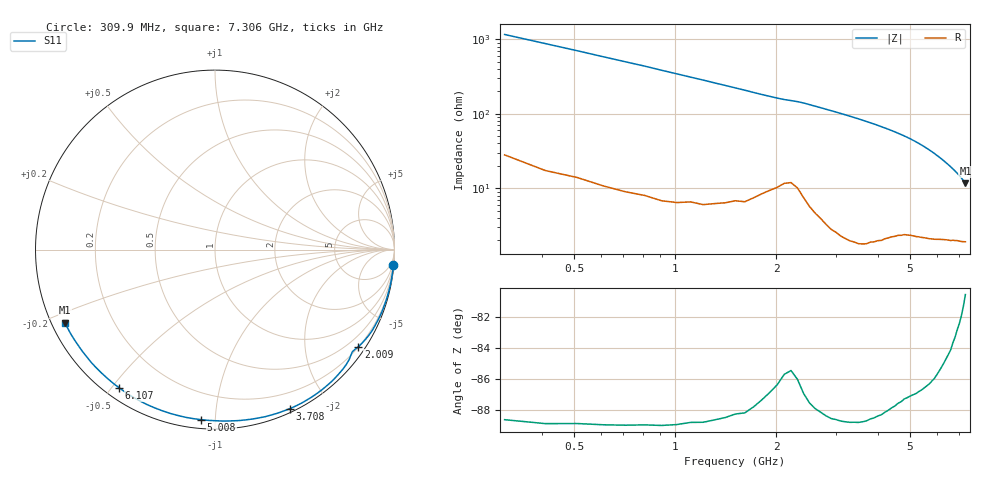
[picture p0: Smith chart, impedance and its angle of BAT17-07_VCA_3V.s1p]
! Infineon Technologies  Discrete & RF Semiconductors
! BAT17-07
! VCA = 3 V
! One-Port S-Parameters
# Hz  S  MA  R  50
!f  S11
!Hz  Mag  Ang
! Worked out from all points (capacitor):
!   71 points, 309.9 MHz to 7.306 GHz, reference 50 ohm
!   read as one part to ground: C = 443 fF near 309.9 MHz
!   lowest |Z| = 11.7 ohm at 7.306 GHz (marker M1)
!   S11 on the Smith chart (normalised r, x): 309.9 MHz: 1, -23; 2.009 GHz: 0.21, -3.25; 3.708 GHz: 0.04, -1.58; 5.008 GHz: 0.05, -0.92; 6.107 GHz: 0.04, -0.52; 7.306 GHz: 0.04, -0.23
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3.0985e8  0.9979 -4.9
8.096e8  0.9959 -13.0
1.2094e9  0.9928 -20.0
1.6092e9  0.9856 -27.1
1.8091e9  0.9765 -30.7
2.009e9  0.9651 -34.1
2.10895e9  0.9573 -35.5
2.30885e9  0.9583 -37.8
2.50875e9  0.9721 -41.2
2.70865e9  0.9773 -44.9
3.0085e9  0.9814 -50.7
3.4083e9  0.982 -58.5
3.70815e9  0.9796 -64.7
3.8081e9  0.9773 -66.8
4.10795e9  0.9719 -73.3
4.30785e9  0.9665 -77.7
4.70765e9  0.9566 -87.1
5.0075e9  0.9507 -94.6
5.30735e9  0.9471 -102.6
5.6072e9  0.9436 -110.9
5.90705e9  0.9403 -119.2
6.10695e9  0.9372 -124.8
6.30685e9  0.9348 -130.1
6.50675e9  0.9334 -135.2
6.70665e9  0.9314 -140.1
6.90655e9  0.9304 -144.8
7.10645e9  0.9307 -149.4
7.30635e9  0.9298 -154.0
